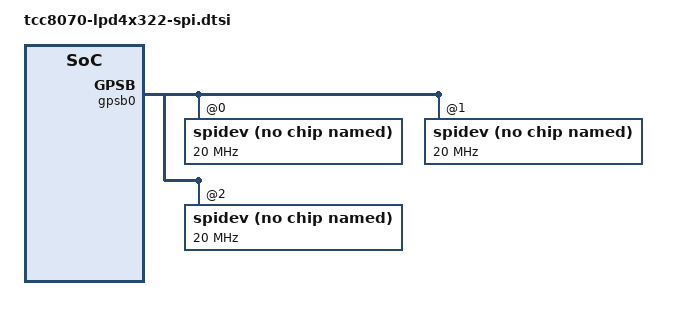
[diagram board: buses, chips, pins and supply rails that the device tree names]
// SPDX-License-Identifier: (GPL-2.0-or-later OR MIT)
/*
 * Copyright (C) Telechips Inc.
 */

#include <dt-bindings/gpio/gpio.h>

&gpsb0 {
	status = "okay";
	gpsb-port = <5>;
	pinctrl-names = "idle", "active", "cs";
	pinctrl-0 = <&gpsb5_bus_idle>;
	pinctrl-1 = <&gpsb5_bus_spi>;
	pinctrl-2 = <&gpsb5_spi_cs>;

	/* cs-gpios */
	cs-gpios = <&gpa 1 GPIO_ACTIVE_LOW>,
		<&gpa 4 GPIO_ACTIVE_LOW>,
		<&gpa 5 GPIO_ACTIVE_LOW>;

	#address-cells = <1>;
	#size-cells = <0>;
	spidev@0 {
		compatible = "rohm,dh2228fv";
		reg = <0>;
		spi-max-frequency = <20000000>;
	};
	spidev@1 {
		compatible = "rohm,dh2228fv";
		reg = <1>;
		spi-max-frequency = <20000000>;
	};
	spidev@2 {
		compatible = "rohm,dh2228fv";
		reg = <2>;
		spi-max-frequency = <20000000>;
	};
};

&gpsb1 {
	status = "disabled";
	gpsb-port = <39>;
	pinctrl-names = "idle", "active", "sleep";

	/* IPC-0 SPI */
	pinctrl-0 = <&gpsb39_bus_idle>;
	pinctrl-1 = <&gpsb39_bus_spi>;
	pinctrl-2 = <&gpsb39_bus_idle>;
	spi-slave;

	/* MICOM_GPIO 0 */
	sync-gpio = <&gpmc 20 0>;
	slave-queue-enable;

	#address-cells = <0>;
	#size-cells = <0>;
	slave {
		compatible = "rohm,dh2228fv";
	};
};

&pinctrl {
	gpsb0_bus: gpsb0_bus {
		telechips,pins = "gpsd0-11", "gpsd0-12", "gpsd0-14", "gpsd0-13";
		telechips,pin-function = <6>;
		telechips,input_buffer_enable;
	};

	gpsb2_bus: gpsb2_bus {
		telechips,pins = "gpsd1-6", "gpsd1-7", "gpsd1-9", "gpsd1-8";
		telechips,pin-function = <6>;
		telechips,input_buffer_enable;
	};

	gpsb3_bus: gpsb3_bus {
		telechips,pins = "gpk-1", "gpk-2", "gpk-4", "gpk-3";
		telechips,pin-function = <6>;
		telechips,input_buffer_enable;
	};

	gpsb4_bus: gpsb4_bus {
		telechips,pins = "gpsd2-6", "gpsd2-7", "gpsd2-9", "gpsd2-8";
		telechips,pin-function = <6>;
		telechips,input_buffer_enable;
	};

	gpsb5_bus_spi: gpsb5_bus {
		telechips,pins = "gpa-0", "gpa-3", "gpa-2";
		telechips,pin-function = <6>;
		telechips,input_buffer_enable;
	};

	gpsb5_bus_idle: gpsb5_bus_idle {
		telechips,pins = "gpa-0", "gpa-3", "gpa-2";
		telechips,pin-function = <0>;
		telechips,output-low;
		telechips,input_buffer_enable;
	};

	gpsb5_spi_cs: gpsb5_spi_cs {
		telechips,pins = "gpa-1", "gpa-4", "gpa-5";
		telechips,pin-function = <0>;
		telechips,input_buffer_enable;
		telechips,output-high;
	};

	gpsb6_bus: gpsb6_bus {
		telechips,pins = "gpk-13", "gpk-14", "gpk-16", "gpk-15";
		telechips,pin-function = <6>;
		telechips,input_buffer_enable;
	};

	gpsb7_bus: gpsb7_bus {
		telechips,pins = "gpa-12", "gpa-13", "gpa-15", "gpa-14";
		telechips,pin-function = <6>;
		telechips,input_buffer_enable;
	};

	gpsb7_bus_idle: gpsb7_bus_idle {
		telechips,pins = "gpa-12", "gpa-13", "gpa-15", "gpa-14";
		telechips,pin-function = <0>;
		telechips,output-low;
		telechips,input_buffer_enable;
	};

	gpsb7_bus_spi: gpsb7_bus_spi {
		telechips,pins = "gpa-12", "gpa-13", "gpa-15", "gpa-14";
		telechips,pin-function = <6>;
		telechips,input_buffer_enable;
	};

	gpsb7_bus_tsif: gpsb7_bus_tsif {
		telechips,pins = "gpa-12", "gpa-13", "gpa-15", "gpa-14";
		telechips,pin-function = <6>;
		telechips,input_buffer_enable;
	};

	gpsb8_bus: gpsb8_bus {
		telechips,pins = "gpa-18", "gpa-19", "gpa-21", "gpa-20";
		telechips,pin-function = <6>;
		telechips,input_buffer_enable;
	};

	gpsb13_bus: gpsb13_bus {
		telechips,pins = "gpb-19", "gpb-20", "gpb-22", "gpb-21";
		telechips,pin-function = <6>;
		telechips,input_buffer_enable;
	};

	gpsb14_bus: gpsb14_bus {
		telechips,pins = "gpb-25", "gpb-26", "gpb-28", "gpb-27";
		telechips,pin-function = <6>;
		telechips,input_buffer_enable;
	};

	gpsb15_bus: gpsb15_bus {
		telechips,pins = "gpc-0", "gpc-1", "gpc-3", "gpc-2";
		telechips,pin-function = <6>;
		telechips,input_buffer_enable;
	};

	gpsb15_bus_idle: gpsb15_bus_idle {
		telechips,pins = "gpc-0", "gpc-1", "gpc-3", "gpc-2";
		telechips,pin-function = <0>;
		telechips,output-low;
		telechips,input_buffer_enable;
	};

	gpsb15_bus_spi: gpsb15_bus_spi {
		telechips,pins = "gpc-0", "gpc-1", "gpc-3", "gpc-2";
		telechips,pin-function = <6>;
		telechips,input_buffer_enable;
	};

	gpsb15_bus_tsif: gpsb15_bus_tsif {
		telechips,pins = "gpc-0", "gpc-1", "gpc-3", "gpc-2";
		telechips,pin-function = <6>;
		telechips,input_buffer_enable;
	};

	gpsb16_bus: gpsb16_bus {
		telechips,pins = "gpc-4", "gpc-5", "gpc-7", "gpc-6";
		telechips,pin-function = <6>;
		telechips,input_buffer_enable;
	};

	gpsb16_bus_idle: gpsb16_bus_idle {
		telechips,pins = "gpc-4", "gpc-5", "gpc-7", "gpc-6";
		telechips,pin-function = <0>;
		telechips,output-low;
		telechips,input_buffer_enable;
	};

	gpsb16_bus_spi: gpsb16_bus_spi {
		telechips,pins = "gpc-4", "gpc-5", "gpc-7", "gpc-6";
		telechips,pin-function = <6>;
		telechips,input_buffer_enable;
	};

	gpsb16_bus_tsif: gpsb16_bus_tsif {
		telechips,pins = "gpc-4", "gpc-5", "gpc-7", "gpc-6";
		telechips,pin-function = <6>;
		telechips,input_buffer_enable;
	};

	gpsb17_bus: gpsb17_bus {
		telechips,pins = "gpc-12", "gpc-13", "gpc-15", "gpc-14";
		telechips,pin-function = <6>;
		telechips,input_buffer_enable;
	};

	gpsb18_bus: gpsb18_bus {
		telechips,pins = "gpc-16", "gpc-17", "gpc-19", "gpc-18";
		telechips,pin-function = <6>;
		telechips,input_buffer_enable;
	};

	gpsb22_bus: gpsb22_bus {
		telechips,pins = "gpg-7", "gpg-8", "gpg-10", "gpg-9";
		telechips,pin-function = <6>;
		telechips,input_buffer_enable;
	};

	gpsb22_bus_idle: gpsb22_bus_idle {
		telechips,pins = "gpg-7", "gpg-8", "gpg-10", "gpg-9";
		telechips,pin-function = <0>;
		telechips,output-low;
		telechips,input_buffer_enable;
	};

	gpsb22_bus_spi: gpsb22_bus_spi {
		telechips,pins = "gpg-7", "gpg-8", "gpg-10", "gpg-9";
		telechips,pin-function = <6>;
		telechips,input_buffer_enable;
	};

	gpsb23_bus: gpsb23_bus {
		telechips,pins = "gpe-5", "gpe-6", "gpe-8", "gpe-7";
		telechips,pin-function = <6>;
		telechips,input_buffer_enable;
	};

	gpsb24_bus: gpsb24_bus {
		telechips,pins = "gpe-11", "gpe-12", "gpe-14", "gpe-13";
		telechips,pin-function = <6>;
		telechips,input_buffer_enable;
	};

	gpsb25_bus: gpsb25_bus {
		telechips,pins = "gpe-16", "gpe-17", "gpe-19", "gpe-18";
		telechips,pin-function = <6>;
		telechips,input_buffer_enable;
	};

	gpsb27_bus: gpsb27_bus {
		telechips,pins = "gpma-0", "gpma-1", "gpma-3", "gpma-2";
		telechips,pin-function = <6>;
		telechips,input_buffer_enable;
	};

	gpsb28_bus: gpsb28_bus {
		telechips,pins = "gpma-6", "gpma-7", "gpma-9", "gpma-8";
		telechips,pin-function = <6>;
		telechips,input_buffer_enable;
	};

	gpsb29_bus: gpsb29_bus {
		telechips,pins = "gpma-12", "gpma-13", "gpma-15", "gpma-14";
		telechips,pin-function = <6>;
		telechips,input_buffer_enable;
	};

	gpsb30_bus: gpsb30_bus {
		telechips,pins = "gpma-18", "gpma-19", "gpma-21", "gpma-20";
		telechips,pin-function = <6>;
		telechips,input_buffer_enable;
	};

	gpsb31_bus: gpsb31_bus {
		telechips,pins = "gpma-24", "gpma-25", "gpma-27", "gpma-26";
		telechips,pin-function = <6>;
		telechips,input_buffer_enable;
	};

	gpsb33_bus: gpsb33_bus {
		telechips,pins = "gpmb-6", "gpmb-7", "gpmb-9", "gpmb-8";
		telechips,pin-function = <6>;
		telechips,input_buffer_enable;
	};

	gpsb35_bus: gpsb35_bus {
		telechips,pins = "gpmb-18", "gpmb-19", "gpmb-21", "gpmb-20";
		telechips,pin-function = <6>;
		telechips,input_buffer_enable;
	};

	gpsb36_bus: gpsb36_bus {
		telechips,pins = "gpmb-24", "gpmb-25", "gpmb-27", "gpmb-26";
		telechips,pin-function = <6>;
		telechips,input_buffer_enable;
	};

	gpsb37_bus: gpsb37_bus {
		telechips,pins = "gpmc-0", "gpmc-1", "gpmc-3", "gpmc-2";
		telechips,pin-function = <6>;
		telechips,input_buffer_enable;
	};

	gpsb38_bus: gpsb38_bus {
		telechips,pins = "gpmc-6", "gpmc-7", "gpmc-9", "gpmc-8";
		telechips,pin-function = <6>;
		telechips,input_buffer_enable;
	};

	gpsb39_bus_spi: gpsb39_bus_spi {
		telechips,pins = "gpmc-12", "gpmc-13", "gpmc-15", "gpmc-14";
		telechips,pin-function = <6>;
		telechips,input_buffer_enable;
	};

	gpsb39_bus_idle: gpsb39_bus_idle {
		telechips,pins = "gpmc-12", "gpmc-13", "gpmc-15", "gpmc-14";
		telechips,pin-function = <0>;
		telechips,input_buffer_enable;
	};

	gpsb40_bus: gpsb40_bus {
		telechips,pins = "gpmc-18", "gpmc-19", "gpmc-20", "gpmc-21";
		telechips,pin-function = <6>;
		telechips,input_buffer_enable;
	};

	gpsb41_bus: gpsb41_bus {
		telechips,pins = "gpmd-0", "gpmd-1", "gpmd-3", "gpmd-2";
		telechips,pin-function = <6>;
		telechips,input_buffer_enable;
	};

	gpsb42_bus: gpsb42_bus {
		telechips,pins = "gpmd-12", "gpmd-13", "gpmd-15", "gpmd-14";
		telechips,pin-function = <6>;
		telechips,input_buffer_enable;
	};
};
